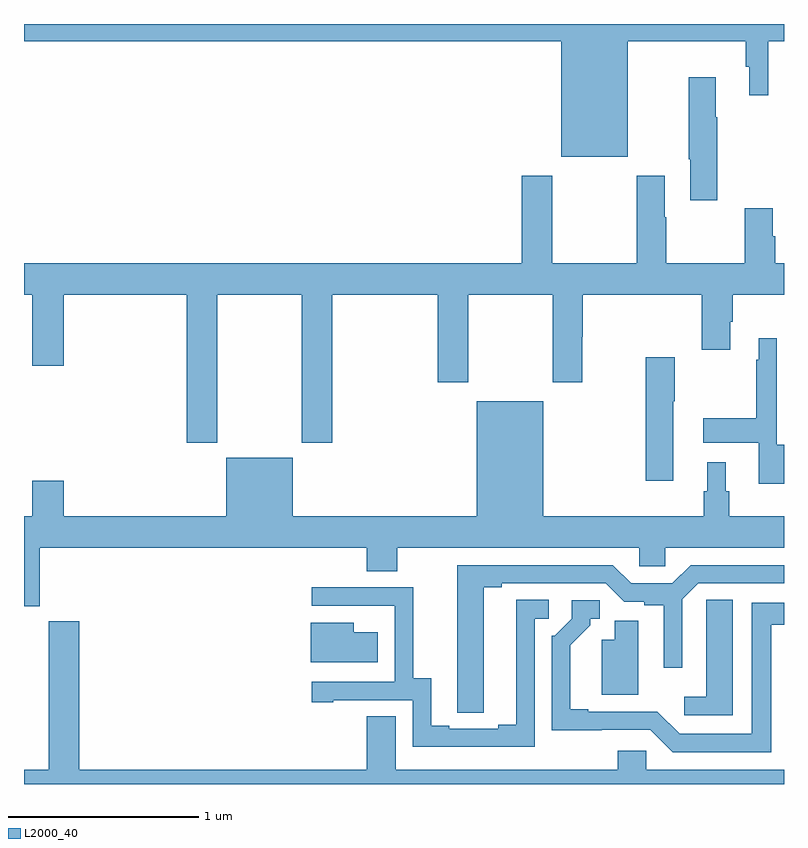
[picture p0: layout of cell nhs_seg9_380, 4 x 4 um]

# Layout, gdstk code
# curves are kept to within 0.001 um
import gdstk
lib = gdstk.Library(unit=1e-6, precision=1e-09)
def P(c, l, *ps):  # polygons
    for p in ps: c.add(gdstk.Polygon(p, *l))
L2000_40 = (2000, 40)

nhs_seg9_380 = lib.new_cell('nhs_seg9_380')
P(nhs_seg9_380, L2000_40, [(132.178,1208.408),(132.799,1208.408),(132.799,1208.274),(132.818,1208.274),(132.818,1208.124),(132.917,1208.124),(132.917,1208.408),(133,1208.408),(133,1208.5),(129,1208.5),(129,1208.408),(131.828,1208.408),(131.828,1207.802),(132.178,1207.802)],
  [(132.648,1208.008),(132.64,1208.008),(132.64,1208.221),(132.499,1208.221),(132.499,1207.789),(132.506,1207.789),(132.506,1207.572),(132.648,1207.572)],
  [(130.017,1207.076),(130.462,1207.076),(130.462,1206.297),(130.622,1206.297),(130.622,1207.076),(131.177,1207.076),(131.177,1206.615),(131.337,1206.615),(131.337,1207.076),(131.782,1207.076),(131.782,1206.615),(131.937,1206.615),(131.937,1206.854),(131.942,1206.854),(131.942,1207.076),(132.566,1207.076),(132.566,1206.786),(132.718,1206.786),(132.718,1206.934),(132.731,1206.934),(132.731,1207.076),(133,1207.076),(133,1207.24),(132.953,1207.24),(132.953,1207.382),(132.94,1207.382),(132.94,1207.531),(132.793,1207.531),(132.793,1207.24),(132.381,1207.24),(132.381,1207.484),(132.373,1207.484),(132.373,1207.702),(132.226,1207.702),(132.226,1207.24),(131.781,1207.24),(131.781,1207.702),(131.621,1207.702),(131.621,1207.24),(129,1207.24),(129,1207.076),(129.044,1207.076),(129.044,1206.702),(129.208,1206.702),(129.208,1207.076),(129.857,1207.076),(129.857,1206.297),(130.017,1206.297)],
  [(133,1206.286),(132.963,1206.286),(132.963,1206.847),(132.866,1206.847),(132.866,1206.734),(132.855,1206.734),(132.855,1206.426),(132.576,1206.426),(132.576,1206.296),(132.866,1206.296),(132.866,1206.08),(133,1206.08)],
  [(132.418,1206.514),(132.426,1206.514),(132.426,1206.745),(132.272,1206.745),(132.272,1206.096),(132.418,1206.096)],
  [(129.082,1205.744),(130.805,1205.744),(130.805,1205.62),(130.965,1205.62),(130.965,1205.744),(132.237,1205.744),(132.237,1205.646),(132.375,1205.646),(132.375,1205.744),(133,1205.744),(133,1205.908),(132.713,1205.908),(132.713,1206.042),(132.694,1206.042),(132.694,1206.193),(132.596,1206.193),(132.596,1206.042),(132.577,1206.042),(132.577,1205.908),(131.734,1205.908),(131.734,1206.514),(131.384,1206.514),(131.384,1205.908),(130.414,1205.908),(130.414,1206.217),(130.064,1206.217),(130.064,1205.908),(129.208,1205.908),(129.208,1206.097),(129.044,1206.097),(129.044,1205.908),(129,1205.908),(129,1205.435),(129.082,1205.435)],
  [(131.419,1205.536),(131.515,1205.536),(131.515,1205.556),(132.063,1205.556),(132.159,1205.46),(132.264,1205.46),(132.264,1205.44),(132.368,1205.44),(132.368,1205.112),(132.465,1205.112),(132.465,1205.472),(132.549,1205.556),(133,1205.556),(133,1205.652),(132.509,1205.652),(132.413,1205.556),(132.195,1205.556),(132.099,1205.652),(131.279,1205.652),(131.28,1204.876),(131.419,1204.876)],
  [(131.688,1205.37),(131.761,1205.37),(131.761,1205.471),(131.591,1205.471),(131.591,1204.811),(131.495,1204.811),(131.495,1204.791),(131.239,1204.791),(131.239,1204.806),(131.143,1204.806),(131.143,1205.057),(131.049,1205.057),(131.049,1205.535),(130.515,1205.535),(130.515,1205.439),(130.949,1205.439),(130.949,1205.438),(130.95,1205.438),(130.95,1205.037),(130.515,1205.037),(130.515,1204.929),(130.627,1204.929),(130.627,1204.941),(131.046,1204.941),(131.046,1204.695),(131.688,1204.695)],
  [(132.73,1205.471),(132.591,1205.471),(132.591,1205.363),(132.59,1205.363),(132.59,1204.96),(132.474,1204.96),(132.474,1204.863),(132.73,1204.863)],
  [(132.934,1205.338),(133,1205.338),(133,1205.454),(132.83,1205.454),(132.83,1204.764),(132.45,1204.764),(132.333,1204.881),(131.971,1204.881),(131.971,1204.894),(131.875,1204.894),(131.875,1205.23),(131.98,1205.335),(131.98,1205.37),(132.03,1205.37),(132.03,1205.466),(131.883,1205.466),(131.883,1205.37),(131.793,1205.28),(131.778,1205.28),(131.778,1204.784),(132.297,1204.785),(132.414,1204.668),(132.934,1204.668)],
  [(132.232,1205.358),(132.11,1205.358),(132.11,1205.26),(132.041,1205.26),(132.041,1204.97),(132.232,1204.97)],
  [(133,1204.576),(132.276,1204.576),(132.276,1204.674),(132.125,1204.674),(132.125,1204.576),(130.957,1204.576),(130.957,1204.856),(130.805,1204.856),(130.805,1204.576),(129.29,1204.576),(129.29,1205.356),(129.13,1205.356),(129.13,1204.576),(129,1204.576),(129,1204.5),(133,1204.5)],
  [(130.861,1205.299),(130.735,1205.299),(130.735,1205.35),(130.508,1205.35),(130.508,1205.141),(130.861,1205.141)])

lib.write_gds('nhs_seg9_380.gds')
